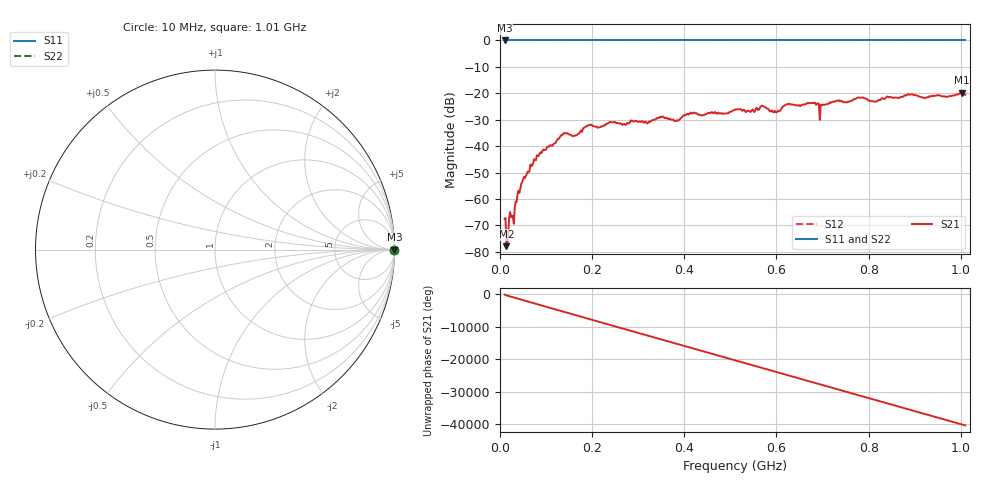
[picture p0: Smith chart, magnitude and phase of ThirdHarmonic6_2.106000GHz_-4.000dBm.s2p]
! 8/17/2025 1:11:19 AM
! C:\ANRITSUVNA\TEMP\TEMP.S2P
! CHANNEL.1
! TR.MEASUREMENT
! RAW.DATA
! RF.CORRECTION.OFF
! AVERAGING.OFF
! IF.BANDWIDTH: 5KHZ
! SWEEPTYPE:  FREQ.SWEEP(Linear)
! Reference Plane Port Info
! PORT:  PORT1  PORT2
! DISTANCE:  0  m  0  m
! TIME:  0  s  0  s
! PHASE.OFFSET:  0  deg.  0  deg.
! LOSS:  0  dB  0  dB
! REF.LOSS:  0  dB  0  dB
! REF.FREQ:  0  Hz  0  Hz
! Power Info
! POWER:  -20  dBm  -20  dBm
! EFF.POWER:  -20  dBm  -20  dBm
! SOURCE.ATTEN:  0  dB  0  dB
! TEST.ATTEN:  0  dB  0  dB
# GHZ S RI R 50.0
! FREQ.GHZ  S11RE  S11IM  S21RE  S21IM  S12RE  S12IM  S22RE  S22IM
!; PortSelection: Port_12
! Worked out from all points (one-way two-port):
!   501 points, 10 MHz to 1.01 GHz, reference 50 ohm
!   highest |S21| = -19.81 dB at 1.002 GHz (marker M1); lowest = -77.9 dB at 14 MHz (marker M2)
!   lowest |S11| = 0.0 dB at 10 MHz (marker M3)
!   |S11| at or under -10 dB: nowhere
!   |S22| runs from 0.0 to 0.0 dB; largest |S21 - S12| = 1.1
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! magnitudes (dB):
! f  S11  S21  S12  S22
! 10 MHz  0.0  -67.6  0.0  0.0
! 14 MHz  0.0  -77.9  0.0  0.0
! 18 MHz  0.0  -72.9  0.0  0.0
! 24 MHz  0.0  -66.9  0.0  0.0
! 28 MHz  0.0  -66.6  0.0  0.0
! 48 MHz  0.0  -53.7  0.0  0.0
! 78 MHz  0.0  -45.4  0.0  0.0
! 136 MHz  0.0  -35.7  0.0  0.0
! 178 MHz  0.0  -34.7  0.0  0.0
! 344 MHz  0.0  -29.5  0.0  0.0
! 384 MHz  0.0  -30.2  0.0  0.0
! 416 MHz  0.0  -27.6  0.0  0.0
! 510 MHz  0.0  -26.2  0.0  0.0
! 570 MHz  0.0  -24.7  0.0  0.0
! 598 MHz  0.0  -27.1  0.0  0.0
! 624 MHz  0.0  -24.2  0.0  0.0
! 678 MHz  0.0  -23.7  0.0  0.0
! 698 MHz  0.0  -24.5  0.0  0.0
! 732 MHz  0.0  -22.8  0.0  0.0
! 844 MHz  0.0  -21.5  0.0  0.0
! 1.002 GHz  0.0  -19.8  0.0  0.0
! 1.01 GHz  0.0  -20.5  0.0  0.0
